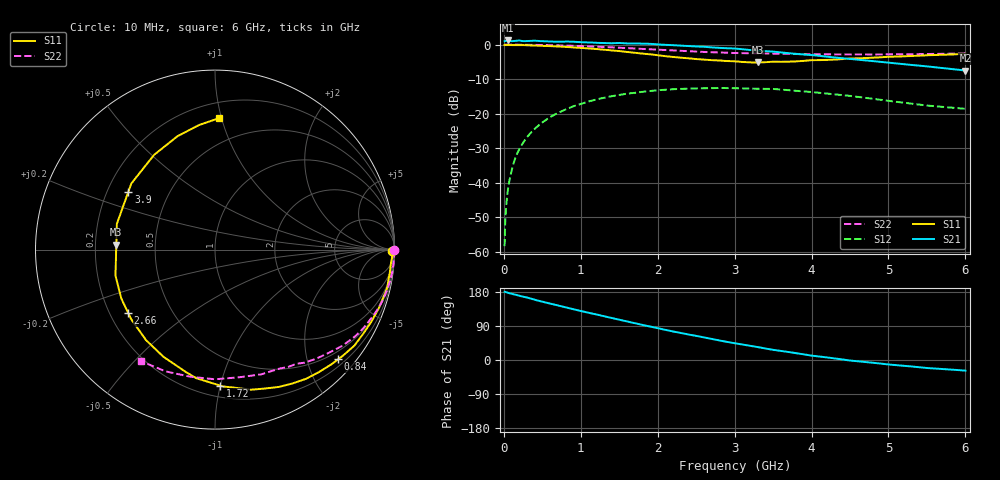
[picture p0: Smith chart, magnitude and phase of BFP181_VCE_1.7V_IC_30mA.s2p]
! Infineon Technologies  Discrete & RF Semiconductors
! BFP181
! VCE = 1.7 V,  IC =  30 mA
! Common Emitter S-Parameters:  Jan 2016
# GHz  S  MA  R  50
!  f  S11  S21  S12  S22
! GHz  MAG  ANG  MAG  ANG  MAG  ANG  MAG  ANG
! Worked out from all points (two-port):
!   210 points, 10 MHz to 6 GHz, reference 50 ohm
!   highest |S21| = 1.19 dB at 50 MHz (marker M1); lowest = -7.5 dB at 6 GHz (marker M2)
!   |S21| within 3 dB of the highest: start of sweep to 3.328 GHz
!   lowest |S11| = -5.2 dB at 3.3 GHz (marker M3), VSWR 3.45, Z = 14.5 + j1.16 ohm
!   |S11| at or under -10 dB: nowhere
!   |S22| runs from -2.9 to 0.0 dB; largest |S21 - S12| = 1.1
!   S11 on the Smith chart (normalised r, x): 10 MHz: open; 840 MHz: 0.33, -2.59; 1.72 GHz: 0.28, -1.00; 2.66 GHz: 0.28, -0.30; 3.9 GHz: 0.29, +0.28; 6 GHz: 0.31, +0.98
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0.01  0.9854 -0.6  1.12 179.9  0.0012 84.2  0.9991 -0.2
0.015  0.9852 -0.9  1.125 179.8  0.0021 88.0  0.999 -0.3
0.02  0.9851 -1.2  1.13 179.7  0.003 89.5  0.999 -0.5
0.03  0.9861 -1.6  1.135 179.0  0.0045 91.9  0.9987 -0.8
0.05  0.9881 -2.4  1.147 177.5  0.0075 93.8  0.9982 -1.3
0.085  0.984 -4.1  1.127 175.6  0.0125 86.1  0.9988 -2.1
0.145  0.9827 -7.2  1.13 172.6  0.0221 84.3  0.9975 -3.6
0.3  0.9768 -14.9  1.126 165.0  0.0454 79.3  0.9948 -7.5
0.52  0.9569 -25.7  1.117 152.8  0.0772 70.7  0.9854 -12.9
0.84  0.9188 -41.7  1.105 137.1  0.1194 59.1  0.9637 -20.5
1.02  0.8916 -50.7  1.08 128.5  0.1403 52.8  0.9476 -24.6
1.32  0.8396 -66.0  1.052 114.6  0.1714 42.5  0.9201 -31.3
1.72  0.7586 -87.7  1.036 96.4  0.2013 30.2  0.8737 -39.3
2.02  0.6959 -104.6  1.003 83.1  0.2188 21.7  0.8428 -44.6
2.66  0.5987 -143.9  0.917 57.4  0.2332 4.8  0.7774 -55.7
3.1  0.5598 -171.0  0.854 40.9  0.2319 -6.1  0.7506 -63.0
3.3  0.5506 177.1  0.816 34.1  0.2291 -10.4  0.7446 -66.3
3.9  0.5807 146.2  0.718 14.9  0.2095 -22.0  0.7257 -77.4
4.1  0.5954 137.8  0.686 9.3  0.2003 -25.3  0.7216 -81.5
4.5  0.6276 122.7  0.621 -1.4  0.1805 -31.4  0.7225 -90.0
5.1  0.6699 106.1  0.534 -13.5  0.1482 -34.5  0.7215 -103.3
6  0.7331 88.1  0.421 -28.1  0.1173 -28.4  0.7454 -123.5
